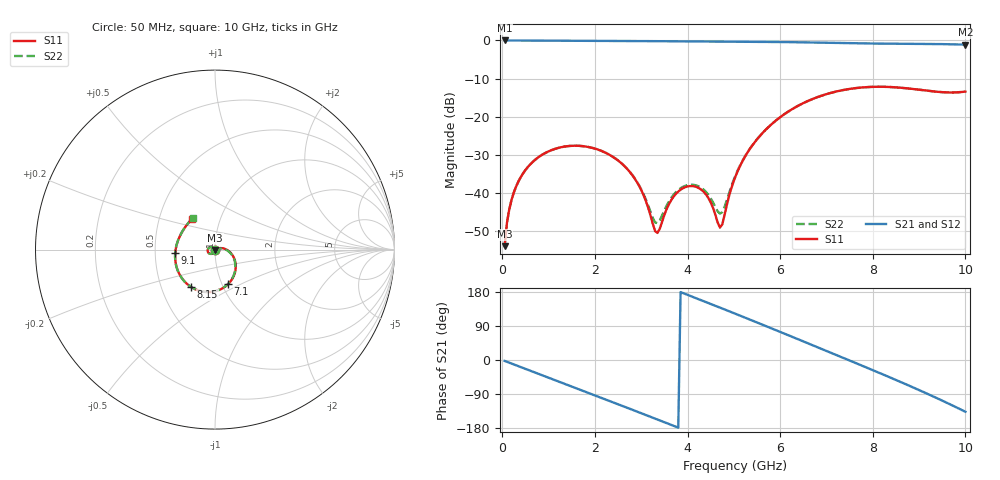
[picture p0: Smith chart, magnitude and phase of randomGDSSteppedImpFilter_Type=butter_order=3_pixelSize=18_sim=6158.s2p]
! freq	dB(S11)	phase(S11)	dB(S12)	phase(S12)
!  dB(S21)	phase(S21)	dB(S22)	phase(S22)
!S-par simulation data
#  GHz  S  DB  R 50
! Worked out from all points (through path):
!   200 points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, 50 MHz to 10 GHz, reference 50 ohm
!   highest |S21| = 0.00 dB at 50 MHz (marker M1); lowest = -1.1 dB at 10 GHz (marker M2)
!   group delay of S21, straight-line fit = 137 ps
!   lowest |S11| = -53.9 dB at 50 MHz (marker M3), VSWR 1.00, Z = 50 - j0.201 ohm
!   |S11| at or under -10 dB: start of sweep to end of sweep
!   |S22| runs from -53.9 to -12.1 dB; largest |S21 - S12| = 0
!   S11 on the Smith chart (normalised r, x): 50 MHz: 1.00, -0.00; 7.1 GHz: 1.07, -0.43; 8.15 GHz: 0.71, -0.31; 9.1 GHz: 0.64, -0.03; 10 GHz: 0.73, +0.26
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0.05  -53.92 -89.9  -0.00 -2.4  -0.00 -2.4  -53.92 -89.9
0.1  -47.86 -92.8  -0.01 -4.7  -0.01 -4.7  -47.87 -92.8
0.2  -41.77 -97.8  -0.02 -9.4  -0.02 -9.4  -41.77 -97.8
0.5  -33.96 -113.0  -0.03 -23.4  -0.03 -23.4  -33.96 -113.1
1.05  -28.81 -140.2  -0.06 -49.0  -0.06 -49.0  -28.81 -140.4
1.75  -27.72 -174.3  -0.10 -81.7  -0.10 -81.7  -27.72 -174.7
2.7  -33.72 136.5  -0.15 -126.2  -0.15 -126.2  -33.69 134.6
3.05  -40.53 110.1  -0.17 -142.8  -0.17 -142.8  -40.28 105.0
3.3  -49.97 47.6  -0.19 -154.6  -0.19 -154.6  -47.70 41.9
3.4  -49.37 -7.7  -0.20 -159.4  -0.20 -159.4  -47.17 -1.4
3.7  -40.93 -62.9  -0.22 -173.7  -0.22 -173.7  -40.42 -56.0
4.05  -38.18 -84.4  -0.25 169.6  -0.25 169.6  -37.83 -78.3
4.4  -40.39 -95.6  -0.27 152.8  -0.27 152.8  -39.73 -87.0
4.7  -49.04 -47.0  -0.29 138.3  -0.29 138.3  -45.39 -45.6
5.05  -35.20 20.5  -0.32 121.2  -0.32 121.2  -34.97 14.0
5.85  -21.58 -9.0  -0.39 81.7  -0.39 81.7  -21.58 -10.7
6.7  -15.35 -49.7  -0.54 39.1  -0.54 39.1  -15.35 -50.7
7.1  -13.72 -69.4  -0.63 18.9  -0.63 18.9  -13.73 -70.3
8.15  -12.14 -122.4  -0.83 -34.5  -0.83 -34.5  -12.14 -123.3
8.35  -12.19 -132.9  -0.85 -44.8  -0.85 -44.8  -12.20 -133.8
9.1  -13.06 -174.9  -0.91 -84.8  -0.91 -84.8  -13.06 -176.0
10  -13.40 126.7  -1.11 -136.6  -1.11 -136.6  -13.38 125.6
